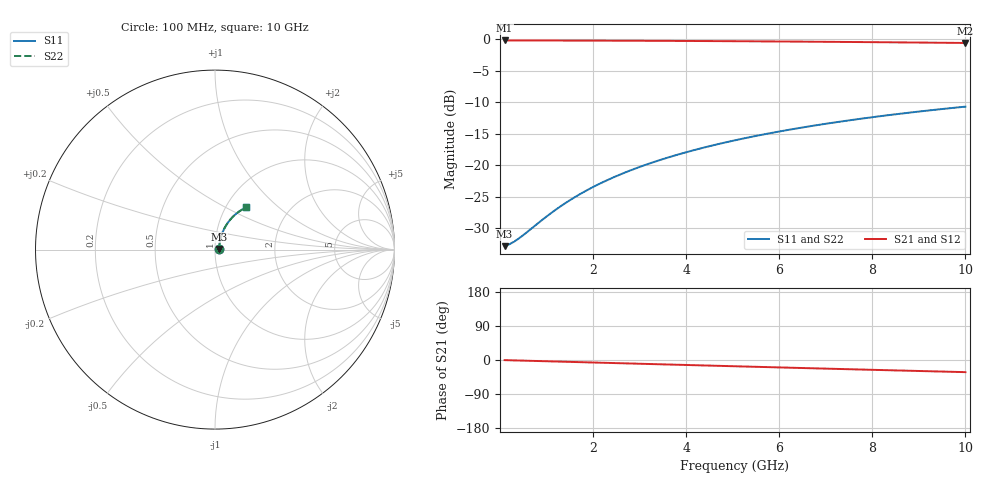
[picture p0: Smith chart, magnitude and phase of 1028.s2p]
# Hz S RI R 50.00
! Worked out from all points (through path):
!   100 points, 100 MHz to 10 GHz, reference 50 ohm
!   highest |S21| = -0.20 dB at 100 MHz (marker M1); lowest = -0.6 dB at 10 GHz (marker M2)
!   group delay of S21, straight-line fit = 8.92 ps
!   lowest |S11| = -32.8 dB at 100 MHz (marker M3), VSWR 1.05, Z = 52.3 + j0.318 ohm
!   |S11| at or under -10 dB: start of sweep to end of sweep
!   |S22| runs from -32.8 to -10.7 dB; largest |S21 - S12| = 0
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1e8  0.0227 0.00304  0.9773 -0.00563  0.9773 -0.00563  0.0227 0.00304
2e8  0.0229 0.00607  0.9771 -0.0113  0.9771 -0.0113  0.0229 0.00607
3e8  0.0231 0.0091  0.9769 -0.0169  0.9769 -0.0169  0.0231 0.0091
4e8  0.0233 0.0121  0.9766 -0.0225  0.9766 -0.0225  0.0233 0.0121
1e9  0.0251 0.0302  0.9745 -0.0562  0.9745 -0.0562  0.0251 0.0302
1.2e9  0.026 0.0362  0.9735 -0.0674  0.9735 -0.0674  0.026 0.0362
1.5e9  0.0275 0.0452  0.9717 -0.0841  0.9717 -0.0841  0.0275 0.0452
1.8e9  0.0293 0.0541  0.9696 -0.1008  0.9696 -0.1008  0.0293 0.0541
2.1e9  0.0314 0.0629  0.967 -0.1174  0.967 -0.1174  0.0314 0.0629
2.5e9  0.0347 0.0745  0.9631 -0.1394  0.9631 -0.1394  0.0347 0.0745
2.9e9  0.0385 0.0859  0.9586 -0.1612  0.9586 -0.1612  0.0385 0.0859
3.4e9  0.0439 0.0999  0.9521 -0.1881  0.9521 -0.1881  0.0439 0.0999
3.8e9  0.0488 0.1108  0.9462 -0.2095  0.9462 -0.2095  0.0488 0.1108
4.2e9  0.0542 0.1214  0.9397 -0.2305  0.9397 -0.2305  0.0542 0.1214
4.6e9  0.06 0.1318  0.9326 -0.2513  0.9326 -0.2513  0.06 0.1318
5.1e9  0.0679 0.1443  0.923 -0.2768  0.923 -0.2768  0.0679 0.1443
5.9e9  0.082 0.1632  0.906 -0.3165  0.906 -0.3165  0.082 0.1632
6.7e9  0.0975 0.1807  0.887 -0.3548  0.887 -0.3548  0.0975 0.1807
7.5e9  0.1143 0.1965  0.8661 -0.3915  0.8661 -0.3915  0.1143 0.1965
8.4e9  0.1346 0.2123  0.8408 -0.4309  0.8408 -0.4309  0.1346 0.2123
9.2e9  0.1537 0.2245  0.8167 -0.464  0.8167 -0.464  0.1537 0.2245
1e10  0.1735 0.2349  0.7914 -0.4953  0.7914 -0.4953  0.1735 0.2349
